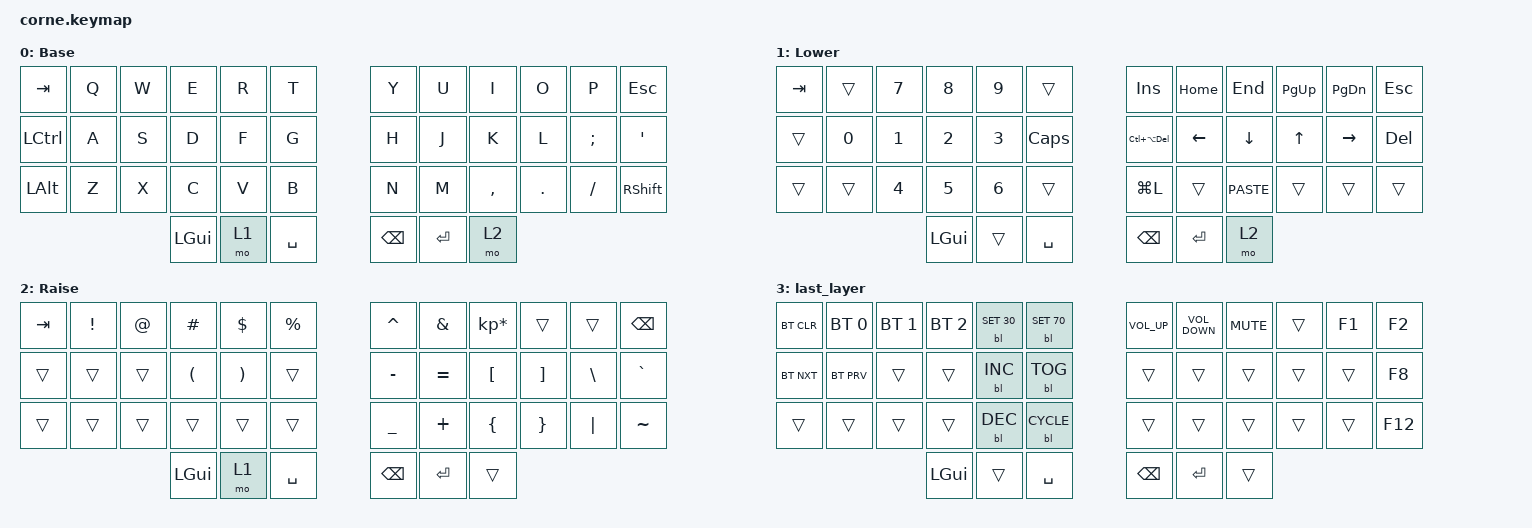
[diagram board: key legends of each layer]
/*
 * Copyright (c) 2020 The ZMK Contributors
 *
 * SPDX-License-Identifier: MIT
 */

#include <behaviors.dtsi>
#include <dt-bindings/zmk/backlight.h>
#include <dt-bindings/zmk/bt.h>
#include <dt-bindings/zmk/keys.h>

/ {
    keymap {
        compatible = "zmk,keymap";

        default_layer {
            // -----------------------------------------------------------------------------------------
            // |  TAB |  Q  |  W  |  E  |  R  |  T  |   |  Y  |  U   |  I  |  O  |  P  | BKSP |
            // | CTRL |  A  |  S  |  D  |  F  |  G  |   |  H  |  J   |  K  |  L  |  ;  |  '   |
            // | SHFT |  Z  |  X  |  C  |  V  |  B  |   |  N  |  M   |  ,  |  .  |  /  | ESC  |
            //                    | GUI | LWR | SPC |   | ENT | RSE  | ALT |

            display-name = "Base";
            bindings = <
&kp TAB       &kp Q  &kp W  &kp E     &kp R  &kp T        &kp Y          &kp U      &kp I      &kp O    &kp P     &kp ESC
&kp LCTRL     &kp A  &kp S  &kp D     &kp F  &kp G        &kp H          &kp J      &kp K      &kp L    &kp SEMI  &kp SQT
&kp LEFT_ALT  &kp Z  &kp X  &kp C     &kp V  &kp B        &kp N          &kp M      &kp COMMA  &kp DOT  &kp FSLH  &kp RIGHT_SHIFT
                            &kp LGUI  &mo 1  &kp SPACE    &kp BACKSPACE  &kp ENTER  &mo 2
            >;
        };

        lower_layer {
            // -----------------------------------------------------------------------------------------
            // |  TAB |  1  |  2  |  3  |  4  |  5  |   |  6  |  7  |  8  |  9  |  0  | BKSP |
            // | BTCLR| BT1 | BT2 | BT3 | BT4 | BT5 |   | LFT | DWN |  UP | RGT |     |      |
            // | SHFT |     |     |     |     |     |   |     |     |     |     |     |      |
            //                    | GUI |     | SPC |   | ENT |     | ALT |

            display-name = "Lower";
            bindings = <
&kp TAB  &trans  &kp N7        &kp N8        &kp N9        &trans       &kp INSERT       &kp HOME    &kp END      &kp PAGE_UP  &kp PAGE_DOWN  &kp ESC
&trans   &kp N0  &kp NUMBER_1  &kp NUMBER_2  &kp NUMBER_3  &kp CAPS     &kp LC(LA(DEL))  &kp LEFT    &kp DOWN     &kp UP       &kp RIGHT      &kp DEL
&trans   &trans  &kp NUMBER_4  &kp N5        &kp NUMBER_6  &trans       &kp LG(L)        &trans      &kp K_PASTE  &trans       &trans         &trans
                               &kp LGUI      &trans        &kp SPACE    &kp BACKSPACE    &kp RETURN  &mo 2
            >;
        };

        raise_layer {
            // -----------------------------------------------------------------------------------------
            // |  TAB |  !  |  @  |  #  |  $  |  %  |   |  ^  |  &  |  *  |  (  |  )  | BKSP |
            // | CTRL |     |     |     |     |     |   |  -  |  =  |  [  |  ]  |  \  |  `   |
            // | SHFT |     |     |     |     |     |   |  _  |  +  |  {  |  }  | "|" |  ~   |
            //                    | GUI |     | SPC |   | ENT |     | ALT |

            display-name = "Raise";
            bindings = <
&kp TAB  &kp EXCL  &kp AT  &kp HASH  &kp DLLR  &kp PRCNT    &kp CARET      &kp AMPS    &kp KP_MULTIPLY  &trans    &trans    &kp BSPC
&trans   &trans    &trans  &kp LPAR  &kp RPAR  &trans       &kp MINUS      &kp EQUAL   &kp LBKT         &kp RBKT  &kp BSLH  &kp GRAVE
&trans   &trans    &trans  &trans    &trans    &trans       &kp UNDER      &kp PLUS    &kp LBRC         &kp RBRC  &kp PIPE  &kp TILDE
                           &kp LGUI  &mo 1     &kp SPACE    &kp BACKSPACE  &kp RETURN  &trans
            >;
        };

        last_layer {
            display-name = "last_layer";
            bindings = <
&bt BT_CLR  &bt BT_SEL 0  &bt BT_SEL 1  &bt BT_SEL 2  &bl BL_SET 30  &bl BL_SET 70    &kp C_VOLUME_UP  &kp C_VOLUME_DOWN  &kp K_MUTE  &trans  &kp F1  &kp F2
&bt BT_NXT  &bt BT_PRV    &trans        &trans        &bl BL_INC     &bl BL_TOG       &trans           &trans             &trans      &trans  &trans  &kp F8
&trans      &trans        &trans        &trans        &bl BL_DEC     &bl BL_CYCLE     &trans           &trans             &trans      &trans  &trans  &kp F12
                                        &kp LGUI      &trans         &kp SPACE        &kp BACKSPACE    &kp RETURN         &trans
            >;
        };
    };

    conditional_layers {
        compatible = "zmk,conditional-layers";

        Third_layer {
            if-layers = <1 2>;
            then-layer = <3>;
        };
    };
};
